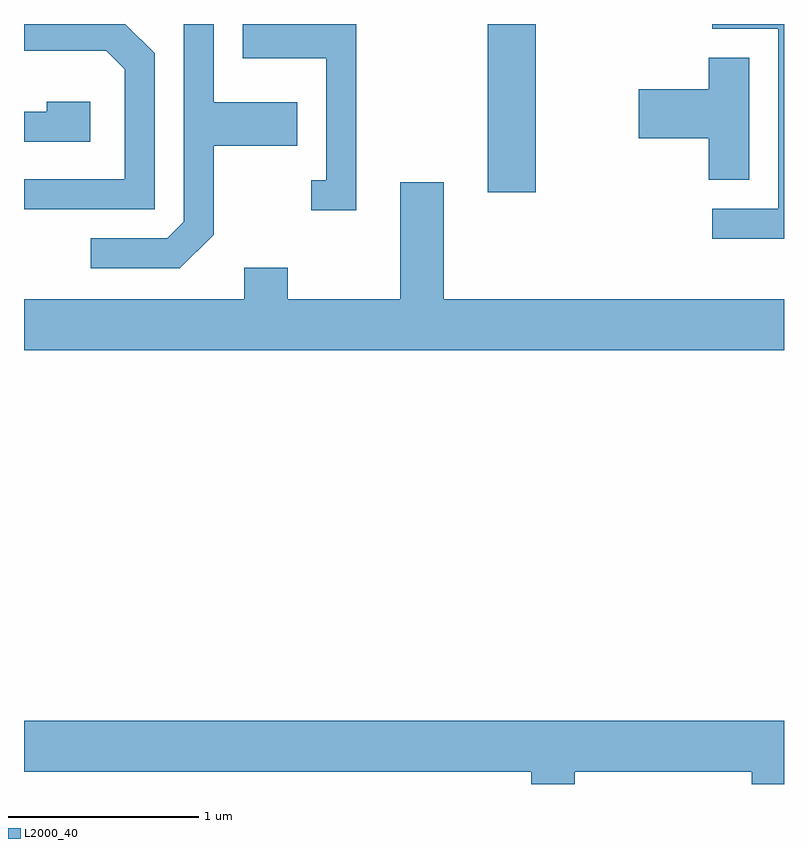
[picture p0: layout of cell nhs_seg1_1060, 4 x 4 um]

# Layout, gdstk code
import gdstk
lib = gdstk.Library(unit=1e-6, precision=1e-09)
def R(c, l, rs):  # rectangles x0, y0, x1, y1
    for r in rs: c.add(gdstk.rectangle(r[:2], r[2:], *l))
def P(c, l, *ps):  # polygons
    for p in ps: c.add(gdstk.Polygon(p, *l))
L2000_40 = (2000, 40)

nhs_seg1_1060 = lib.new_cell('nhs_seg1_1060')
R(nhs_seg1_1060, L2000_40, [(220.051,924.826,220.304,925.712), (219.591,925.711,219.819,925.712)])
P(nhs_seg1_1060, L2000_40, [(218.609,924.604),(218.609,925.071),(219.049,925.071),(219.049,925.299),(218.609,925.299),(218.609,925.712),(218.451,925.712),(218.451,924.672),(218.364,924.584),(217.963,924.584),(217.963,924.426),(218.432,924.426)],
  [(218.299,925.557),(218.144,925.712),(217.611,925.712),(217.611,925.571),(218.044,925.571),(218.141,925.474),(218.141,924.894),(217.611,924.894),(217.611,924.736),(218.299,924.736)],
  [(221.611,925.712),(221.233,925.712),(221.233,925.686),(221.581,925.686),(221.581,924.739),(221.233,924.739),(221.233,924.581),(221.611,924.581)],
  [(219.359,925.712),(218.761,925.712),(218.761,925.531),(219.201,925.531),(219.201,924.889),(219.123,924.889),(219.123,924.731),(219.359,924.731)],
  [(221.429,925.534),(221.216,925.534),(221.216,925.369),(220.846,925.369),(220.846,925.111),(221.216,925.111),(221.216,924.891),(221.429,924.891)],
  [(217.959,925.304),(217.731,925.304),(217.731,925.249),(217.611,925.249),(217.611,925.091),(217.959,925.091)],
  [(221.611,924.264),(219.819,924.264),(219.819,924.879),(219.591,924.879),(219.591,924.264),(218.999,924.264),(218.999,924.429),(218.771,924.429),(218.771,924.264),(217.611,924.264),(217.611,923.996),(221.611,923.996)],
  [(220.509,921.776),(221.441,921.776),(221.441,921.712),(221.611,921.712),(221.611,922.044),(217.611,922.044),(217.611,921.776),(220.281,921.776),(220.281,921.712),(220.509,921.712)])

lib.write_gds('nhs_seg1_1060.gds')
